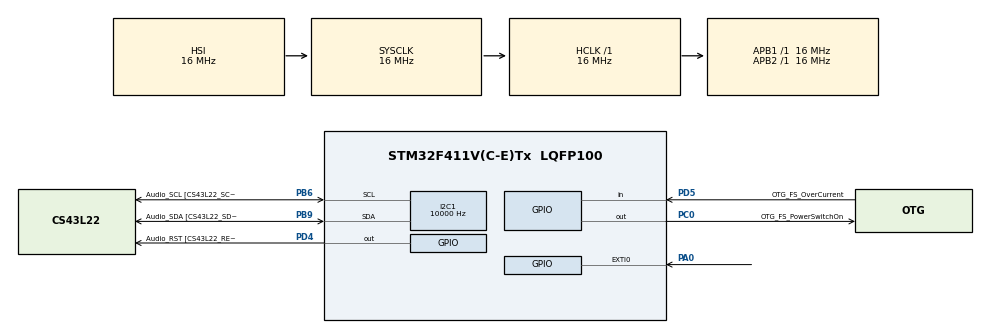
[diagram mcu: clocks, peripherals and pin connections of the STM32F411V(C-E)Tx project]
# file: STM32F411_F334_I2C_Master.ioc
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I2C1.ClockSpeed=10000
I2C1.I2C_Mode=I2C_Standard
Mcu.Family=STM32F4
Mcu.Name=STM32F411V(C-E)Tx
Mcu.Package=LQFP100
NVIC.I2C1_ER_IRQn=true\:0\:0\:false\:false\:true\:true\:true
NVIC.I2C1_EV_IRQn=true\:0\:0\:false\:false\:true\:true\:true
NVIC.PriorityGroup=NVIC_PRIORITYGROUP_0
PA0-WKUP.GPIO_ModeDefaultEXTI=GPIO_MODE_EVT_RISING
PA0-WKUP.Signal=GPXTI0
PB6.GPIO_Label=Audio_SCL [CS43L22_SCL]
PB6.GPIO_Mode=GPIO_MODE_AF_OD
PB6.GPIO_PuPd=GPIO_NOPULL
PB6.GPIO_Speed=GPIO_SPEED_FREQ_LOW
PB6.Mode=I2C
PB6.Signal=I2C1_SCL
PB9.GPIO_Label=Audio_SDA [CS43L22_SDA]
PB9.GPIO_Mode=GPIO_MODE_AF_OD
PB9.GPIO_PuPd=GPIO_NOPULL
PB9.GPIO_Speed=GPIO_SPEED_FREQ_LOW
PB9.Mode=I2C
PB9.Signal=I2C1_SDA
PC0.GPIO_Label=OTG_FS_PowerSwitchOn
PC0.PinState=GPIO_PIN_SET
PC0.Signal=GPIO_Output
PD4.GPIO_Label=Audio_RST [CS43L22_RESET]
PD4.Signal=GPIO_Output
PD5.GPIO_Label=OTG_FS_OverCurrent
PD5.Signal=GPIO_Input
ProjectManager.HeapSize=0x200
ProjectManager.StackSize=0x400
ProjectManager.TargetToolchain=STM32CubeIDE
RCC.48MHZClocksFreq_Value=25000000
RCC.AHBFreq_Value=16000000
RCC.APB1Freq_Value=16000000
RCC.APB1TimFreq_Value=16000000
RCC.APB2Freq_Value=16000000
RCC.APB2TimFreq_Value=16000000
RCC.CortexFreq_Value=16000000
RCC.HCLKFreq_Value=16000000
RCC.HSE_VALUE=25000000
RCC.HSI_VALUE=16000000
RCC.LSE_VALUE=32768
RCC.PLLM=8
RCC.PLLN=50
RCC.SYSCLKFreq_VALUE=16000000
RCC.VCOOutputFreq_Value=100000000
board=STM32F411E-DISCO

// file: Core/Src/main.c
/* USER CODE BEGIN Header */
/**
 ******************************************************************************
 * @file           : main.c
 * @brief          : Main program body
 ******************************************************************************
 * @attention
 *
 * <h2><center>&copy; Copyright (c) 2021 STMicroelectronics.
 * All rights reserved.</center></h2>
 *
 * This software component is licensed by ST under Ultimate Liberty license
 * SLA0044, the "License"; You may not use this file except in compliance with
 * the License. You may obtain a copy of the License at:
 *                             www.st.com/SLA0044
 *
 ******************************************************************************
 */
/* USER CODE END Header */
#include "main.h"

/* USER CODE BEGIN Includes */
#include <stdio.h>
/* USER CODE END Includes */

/* USER CODE BEGIN PTD */
#define I2C_ADDRESS        0x0F
uint8_t buffer[7];
uint8_t rxBuffer[7];
/* USER CODE END PTD */

I2C_HandleTypeDef hi2c1;

void SystemClock_Config(void);
static void MX_GPIO_Init(void);
static void MX_I2C1_Init(void);
/* USER CODE BEGIN PFP */
void CustomError_Handler(void);
/* USER CODE END PFP */

int main(void)
{

	/* MCU Configuration--------------------------------------------------------*/

	/* Reset of all peripherals, Initializes the Flash interface and the Systick. */
	HAL_Init();

	/* Configure the system clock */
	SystemClock_Config();

	/* Initialize all configured peripherals */
	MX_GPIO_Init();
	MX_I2C1_Init();

	/* Infinite loop */
	/* USER CODE BEGIN WHILE */

	while (1)
	{
		if (HAL_I2C_Master_Transmit(&hi2c1, (uint16_t) I2C_ADDRESS, (uint8_t*) "1234567", 7, 1000) != HAL_OK)
		{

			uint32_t errCode = HAL_I2C_GetError(&hi2c1);
			if (errCode != HAL_I2C_ERROR_AF)
			{
				CustomError_Handler();
			}
		}

		if (HAL_I2C_Master_Receive(&hi2c1, (uint16_t) I2C_ADDRESS, (uint8_t*) rxBuffer, sizeof(rxBuffer), 1000) != HAL_OK)
		{
			uint32_t errCode = HAL_I2C_GetError(&hi2c1);
			if (errCode != HAL_I2C_ERROR_AF)
			{
				CustomError_Handler();
			}
		}

		HAL_Delay(2000);
		/* USER CODE END WHILE */

	}
}

void SystemClock_Config(void)
{
	RCC_OscInitTypeDef RCC_OscInitStruct =
	{ 0 };
	RCC_ClkInitTypeDef RCC_ClkInitStruct =
	{ 0 };

	/** Configure the main internal regulator output voltage
	 */
	__HAL_RCC_PWR_CLK_ENABLE();
	__HAL_PWR_VOLTAGESCALING_CONFIG(PWR_REGULATOR_VOLTAGE_SCALE1);
	/** Initializes the RCC Oscillators according to the specified parameters
	 * in the RCC_OscInitTypeDef structure.
	 */
	RCC_OscInitStruct.OscillatorType = RCC_OSCILLATORTYPE_HSI;
	RCC_OscInitStruct.HSIState = RCC_HSI_ON;
	RCC_OscInitStruct.HSICalibrationValue = RCC_HSICALIBRATION_DEFAULT;
	RCC_OscInitStruct.PLL.PLLState = RCC_PLL_NONE;
	if (HAL_RCC_OscConfig(&RCC_OscInitStruct) != HAL_OK)
	{
		Error_Handler();
	}
	/** Initializes the CPU, AHB and APB buses clocks
	 */
	RCC_ClkInitStruct.ClockType = RCC_CLOCKTYPE_HCLK | RCC_CLOCKTYPE_SYSCLK | RCC_CLOCKTYPE_PCLK1 | RCC_CLOCKTYPE_PCLK2;
	RCC_ClkInitStruct.SYSCLKSource = RCC_SYSCLKSOURCE_HSI;
	RCC_ClkInitStruct.AHBCLKDivider = RCC_SYSCLK_DIV1;
	RCC_ClkInitStruct.APB1CLKDivider = RCC_HCLK_DIV1;
	RCC_ClkInitStruct.APB2CLKDivider = RCC_HCLK_DIV1;

	if (HAL_RCC_ClockConfig(&RCC_ClkInitStruct, FLASH_LATENCY_0) != HAL_OK)
	{
		Error_Handler();
	}
}

static void MX_I2C1_Init(void)
{

	hi2c1.Instance = I2C1;
	hi2c1.Init.ClockSpeed = 10000;
	hi2c1.Init.DutyCycle = I2C_DUTYCYCLE_2;
	hi2c1.Init.OwnAddress1 = 0;
	hi2c1.Init.AddressingMode = I2C_ADDRESSINGMODE_7BIT;
	hi2c1.Init.DualAddressMode = I2C_DUALADDRESS_DISABLE;
	hi2c1.Init.OwnAddress2 = 0;
	hi2c1.Init.GeneralCallMode = I2C_GENERALCALL_DISABLE;
	hi2c1.Init.NoStretchMode = I2C_NOSTRETCH_DISABLE;
	if (HAL_I2C_Init(&hi2c1) != HAL_OK)
	{
		Error_Handler();
	}

}

static void MX_GPIO_Init(void)
{
	GPIO_InitTypeDef GPIO_InitStruct =
	{ 0 };

	/* GPIO Ports Clock Enable */
	__HAL_RCC_GPIOC_CLK_ENABLE();
	__HAL_RCC_GPIOA_CLK_ENABLE();
	__HAL_RCC_GPIOD_CLK_ENABLE();
	__HAL_RCC_GPIOB_CLK_ENABLE();

	/*Configure GPIO pin Output Level */
	HAL_GPIO_WritePin(OTG_FS_PowerSwitchOn_GPIO_Port, OTG_FS_PowerSwitchOn_Pin, GPIO_PIN_SET);

	/*Configure GPIO pin Output Level */
	HAL_GPIO_WritePin(Audio_RST_GPIO_Port, Audio_RST_Pin, GPIO_PIN_RESET);

	/*Configure GPIO pin : OTG_FS_PowerSwitchOn_Pin */
	GPIO_InitStruct.Pin = OTG_FS_PowerSwitchOn_Pin;
	GPIO_InitStruct.Mode = GPIO_MODE_OUTPUT_PP;
	GPIO_InitStruct.Pull = GPIO_NOPULL;
	GPIO_InitStruct.Speed = GPIO_SPEED_FREQ_LOW;
	HAL_GPIO_Init(OTG_FS_PowerSwitchOn_GPIO_Port, &GPIO_InitStruct);

	/*Configure GPIO pin : PA0 */
	GPIO_InitStruct.Pin = GPIO_PIN_0;
	GPIO_InitStruct.Mode = GPIO_MODE_EVT_RISING;
	GPIO_InitStruct.Pull = GPIO_NOPULL;
	HAL_GPIO_Init(GPIOA, &GPIO_InitStruct);

	/*Configure GPIO pin : Audio_RST_Pin */
	GPIO_InitStruct.Pin = Audio_RST_Pin;
	GPIO_InitStruct.Mode = GPIO_MODE_OUTPUT_PP;
	GPIO_InitStruct.Pull = GPIO_NOPULL;
	GPIO_InitStruct.Speed = GPIO_SPEED_FREQ_LOW;
	HAL_GPIO_Init(Audio_RST_GPIO_Port, &GPIO_InitStruct);

	/*Configure GPIO pin : OTG_FS_OverCurrent_Pin */
	GPIO_InitStruct.Pin = OTG_FS_OverCurrent_Pin;
	GPIO_InitStruct.Mode = GPIO_MODE_INPUT;
	GPIO_InitStruct.Pull = GPIO_NOPULL;
	HAL_GPIO_Init(OTG_FS_OverCurrent_GPIO_Port, &GPIO_InitStruct);

}

/* USER CODE BEGIN 4 */
void CustomError_Handler(void)
{
	printf("An Error occured \r\n");
}

/* USER CODE END 4 */

void Error_Handler(void)
{
	__disable_irq();
	while (1)
	{
	}
}

/************************ (C) COPYRIGHT STMicroelectronics *****END OF FILE****/
